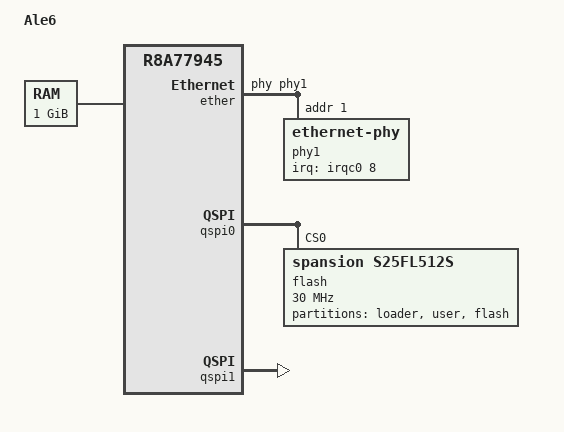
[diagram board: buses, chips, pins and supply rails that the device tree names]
/*
 * Device Tree Source for the Ale6 board
 *
 * Copyright (C) 2015-2016 Renesas Electronics Corporation
 *
 * This file is licensed under the terms of the GNU General Public License
 * version 2.  This program is licensed "as is" without any warranty of any
 * kind, whether express or implied.
 */

/*
 * SSI-AK4643
 *
 * SW1: 1: AK4643
 *      2: CN22
 *      3: ADV7511
 *
  * This command is required when Playback/Capture
 *
 * # Note SRC0 is not supported on ale6 board
 *	amixer set "LINEOUT Mixer DACL" on
 *	amixer set "DVC Out" 100%
 *	amixer set "DVC In" 100%
 *
 * You can use Mute
 *
 *	amixer set "DVC Out Mute" on
 *	amixer set "DVC In Mute" on
 */

/dts-v1/;
#include "r8a7794x.dtsi"
#include <dt-bindings/gpio/gpio.h>
#include <dt-bindings/input/input.h>

/ {
	model = "Ale6";
	compatible = "renesas,ale6", "renesas,r8a77945";

	chosen {
		bootargs = "console=ttySC0,115200 ignore_loglevel rw root=/dev/nfs ip=dhcp";
	};

	memory@40000000 {
		device_type = "memory";
		reg = <0 0x40000000 0 0x40000000>;
	};

	lbsc {
		#address-cells = <1>;
		#size-cells = <1>;
	};
};

&extal_clk {
	clock-frequency = <20000000>;
};

&pfc {
	pinctrl-0 = <&scif0_pins>;
	pinctrl-names = "default";

	scif0_pins: serial0 {
		renesas,groups = "scif0_data_a";
		renesas,function = "scif0";
	};

	ether_pins: ether {
		renesas,groups = "eth_link", "eth_mdio", "eth_rmii";
		renesas,function = "eth";
	};

	qspi0_pins: spi0 {
		renesas,groups = "qspi0_ctrl", "qspi0_data4";
		renesas,function = "qspi0";
	};

	qspi1_pins: spi1 {
		renesas,groups = "qspi1_ctrl", "qspi1_data4";
		renesas,function = "qspi1";
	};
};

&ether {
	phy-handle = <&phy1>;
	renesas,ether-link-active-low;
	status = "ok";

	phy1: ethernet-phy@1 {
		reg = <1>;
		interrupt-parent = <&irqc0>;
		interrupts = <8 IRQ_TYPE_LEVEL_LOW>;
		micrel,led-mode = <1>;
	};
};

&qspi0 {
	pinctrl-0 = <&qspi0_pins>;
	pinctrl-names = "default";

	status = "okay";

	flash: flash@0 {
		#address-cells = <1>;
		#size-cells = <1>;
		compatible = "spansion,s25fl512s";
		reg = <0>;
		spi-max-frequency = <30000000>;
		spi-tx-bus-width = <4>;
		spi-rx-bus-width = <4>;
		m25p,fast-read;
		spi-cpol;
		spi-cpha;

		partition@0 {
			label = "loader";
			reg = <0x00000000 0x00080000>;
			read-only;
		};
		partition@40000 {
			label = "user";
			reg = <0x00080000 0x00580000>;
			read-only;
		};
		partition@440000 {
			label = "flash";
			reg = <0x00600000 0x03a00000>;
		};
	};
};

&qspi1 {
	pinctrl-0 = <&qspi1_pins>;
	pinctrl-names = "default";

	status = "okay";
};
